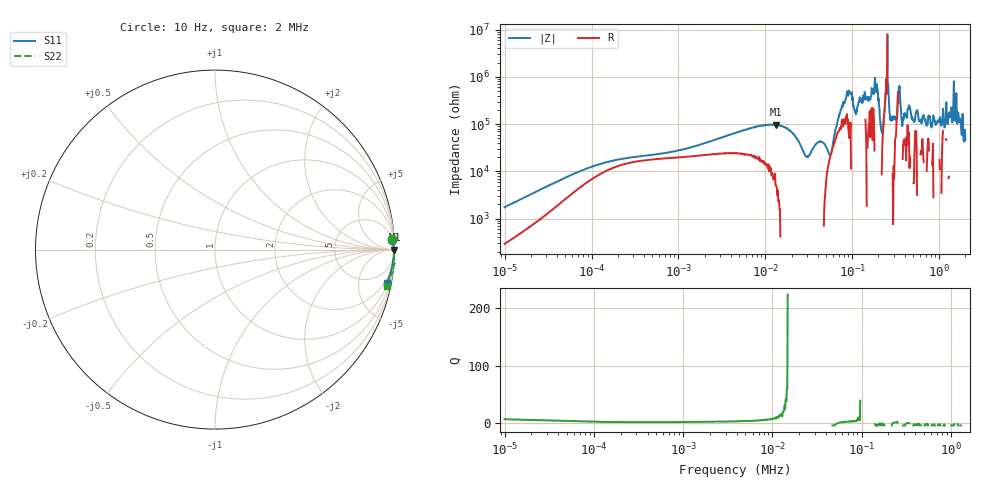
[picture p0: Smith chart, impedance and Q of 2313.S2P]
!Agilent Technologies,E5061B,MY49204007,A.02.12
!Date: Wed Jul 23 12:04:10 2025
!Data & Calibration Information:
!Freq	S11:SOLT2(ON)	S21:SOLT2(ON)	S12:SOLT2(ON)	S22:SOLT2(ON)
# Hz S dB R 50
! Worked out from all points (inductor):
!   1040 points, 10 Hz to 2 MHz, reference 50 ohm
!   read as one part in series: L = 26.5 H near 10.69 Hz
!   highest Q = 19.3 at 13.25 kHz (marker M1), where L = 1.17 H
!   self-resonance near 29.91 kHz
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10  -0.10 3.2  -24.89 -77.1  -24.90 -76.9  -0.08 3.4
77.209  -0.04 0.5  -40.40 -61.7  -40.40 -61.6  -0.02 0.7
588.818  -0.03 0.1  -47.36 -37.7  -47.37 -37.6  -0.01 0.4
4498.482  -0.01 0.0  -56.24 -68.1  -56.21 -67.5  0.01 0.2
13245.48  -0.00 -0.1  -59.76 -87.0  -59.62 -87.5  0.02 0.1
29600.99  -0.02 -0.2  -46.19 -171.1  -46.20 -171.4  -0.10 -0.2
34305.13  -0.01 -0.2  -49.00 129.7  -49.00 129.6  -0.04 0.4
43509.69  -0.01 -0.3  -52.60 97.8  -52.45 98.7  -0.00 0.1
55893.47  -0.04 -0.3  -46.78 18.0  -46.83 18.2  -0.03 -0.0
74327.26  -0.01 -0.4  -66.13 -63.9  -65.80 -60.6  0.01 -0.1
92131.26  -0.01 -0.5  -73.40 -84.2  -72.14 -74.0  0.01 -0.3
108916.2  -0.04 -0.6  -65.76 173.1  -64.87 172.0  0.01 -0.4
186279.1  -0.01 -1.0  -74.88 90.8  -76.01 87.4  0.01 -0.9
217963.3  -0.02 -1.2  -56.81 81.7  -56.08 83.0  -0.02 -1.1
247285.5  -0.01 -1.3  -79.36 -7.5  -79.91 19.6  0.00 -1.1
261946.5  -0.01 -1.4  -72.16 -161.5  -73.09 -166.4  0.00 -1.2
291268.7  -0.02 -1.5  -62.87 84.9  -62.11 93.8  0.00 -1.4
347350.3  -0.02 -1.9  -76.20 89.7  -79.05 98.9  -0.01 -1.9
387842.4  -0.03 -2.0  -62.00 69.8  -62.73 72.0  -0.04 -1.8
1104505  -0.09 -5.9  -66.60 64.2  -65.33 67.9  -0.04 -6.4
1554576  -0.14 -8.4  -65.64 111.9  -65.46 121.2  -0.09 -9.1
2000000  -0.21 -11.0  -53.40 -123.6  -53.49 -124.4  -0.19 -11.9
